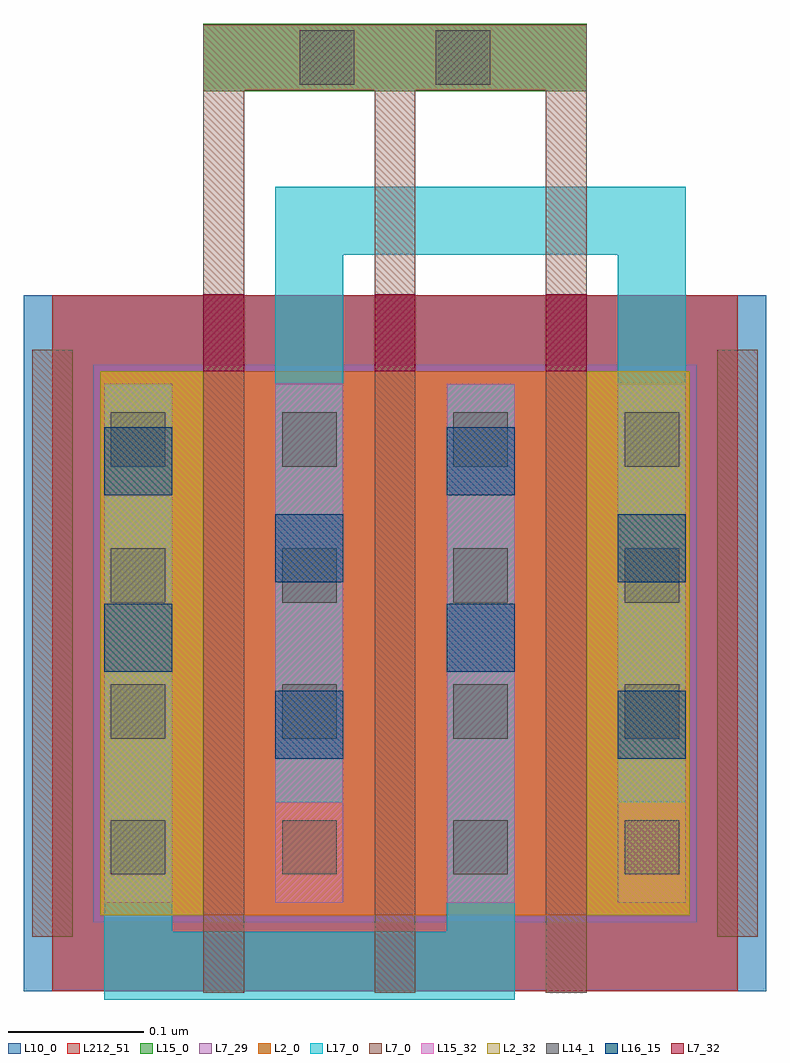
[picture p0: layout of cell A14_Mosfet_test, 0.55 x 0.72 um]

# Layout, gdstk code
import gdstk
lib = gdstk.Library(unit=1e-6, precision=1e-09)
def R(c, l, rs):  # rectangles x0, y0, x1, y1
    for r in rs: c.add(gdstk.rectangle(r[:2], r[2:], *l))
def A(c, l, x, y, w, h, nx, ny, dx, dy):  # array of equal rectangles
    R(c, l, [(x+i*dx, y+j*dy, x+i*dx+w, y+j*dy+h) for i in range(nx) for j in range(ny)])
L2_0 = (2, 0)
L2_32 = (2, 32)
L7_0 = (7, 0)
L7_29 = (7, 29)
L7_32 = (7, 32)
L10_0 = (10, 0)
L14_1 = (14, 1)
L15_0 = (15, 0)
L15_32 = (15, 32)
L16_15 = (16, 15)
L17_0 = (17, 0)
L212_51 = (212, 51)

a14_mosfet_test_srf_sour = lib.new_cell('A14_Mosfet_test:SRF_Source_ViaM1M2:SRF_ViaM1M2')
R(a14_mosfet_test_srf_sour, L15_0, [(0,-0.162,0.05,0.082)])
R(a14_mosfet_test_srf_sour, L16_15, [(0,-0.13,0.05,-0.08), (0,0,0.05,0.05)])
R(a14_mosfet_test_srf_sour, L17_0, [(0,-0.162,0.05,0.082)])

c_a14_mosfet_test_srf_sour = lib.new_cell('A14_Mosfet_test:SRF_Source_ViaM1M2')
c_a14_mosfet_test_srf_sour.add(gdstk.Reference(a14_mosfet_test_srf_sour, (-0.025,0.04)))

a14_mosfet_test_srf_drai = lib.new_cell('A14_Mosfet_test:SRF_Drain_ViaM1M2:SRF_ViaM1M2')
R(a14_mosfet_test_srf_drai, L15_0, [(0,-0.162,0.05,0.082)])
R(a14_mosfet_test_srf_drai, L16_15, [(0,-0.13,0.05,-0.08), (0,0,0.05,0.05)])
R(a14_mosfet_test_srf_drai, L17_0, [(0,-0.162,0.05,0.082)])

c_a14_mosfet_test_srf_drai = lib.new_cell('A14_Mosfet_test:SRF_Drain_ViaM1M2')
c_a14_mosfet_test_srf_drai.add(gdstk.Reference(a14_mosfet_test_srf_drai, (-0.025,0.04)))

a14_mosfet_test_srf_gate = lib.new_cell('A14_Mosfet_test:SRF_Gate_ViaM0Mx:SRF_ViaM0M1')
R(a14_mosfet_test_srf_gate, L7_0, [(-0.01,-0.004,0.15,0.044)])
R(a14_mosfet_test_srf_gate, L14_1, [(0,0,0.04,0.04), (0.1,0,0.14,0.04)])
R(a14_mosfet_test_srf_gate, L15_0, [(-0.021,-0.005,0.161,0.045)])

c_a14_mosfet_test_srf_gate = lib.new_cell('A14_Mosfet_test:SRF_Gate_ViaM0Mx')
c_a14_mosfet_test_srf_gate.add(gdstk.Reference(a14_mosfet_test_srf_gate, (-0.07,-0.02)))

a14_mosfet_test = lib.new_cell('A14_Mosfet_test')
R(a14_mosfet_test, L2_0, [(-0.076,0.057,0.358,0.457)])
R(a14_mosfet_test, L2_32, [(-0.076,0.057,0,0.457), (0.282,0.057,0.358,0.457)])
A(a14_mosfet_test, L7_0, 0, 0, 0.03, 0.514, 3, 1, 0.126, 0)
A(a14_mosfet_test, L7_0, 0, 0.514, 0.03, 0.15, 3, 1, 0.126, 0)
R(a14_mosfet_test, L7_0, [(-0.126,0.041,-0.096,0.473), (0.378,0.041,0.408,0.473), (0,0.664,0.282,0.712)])
R(a14_mosfet_test, L7_29, [(-0.081,0.052,0.363,0.462)])
A(a14_mosfet_test, L7_32, 0, 0.457, 0.03, 0.057, 3, 1, 0.126, 0)
R(a14_mosfet_test, L10_0, [(-0.132,0.001,0.414,0.513)])
A(a14_mosfet_test, L14_1, -0.068, 0.087, 0.04, 0.04, 4, 4, 0.126, 0.1)
R(a14_mosfet_test, L15_0, [(-0.073,0.066,-0.023,0.448), (-0.073,0.066,-0.023,0.448), (0.053,0.066,0.103,0.448), (0.053,0.066,0.103,0.448), (0.179,0.066,0.229,0.448), (0.179,0.066,0.229,0.448), (0.305,0.066,0.355,0.448), (0.305,0.066,0.355,0.448), (0,0.663,0.282,0.713)])
A(a14_mosfet_test, L15_32, -0.073, 0.066, 0.05, 0.382, 4, 1, 0.126, 0)
R(a14_mosfet_test, L17_0, [(-0.073,-0.005,0.229,0.045), (-0.073,0.045,-0.023,0.448), (0.179,0.045,0.229,0.448), (0.053,0.384,0.103,0.543), (0.305,0.384,0.355,0.543), (0.053,0.543,0.355,0.593)])
R(a14_mosfet_test, L212_51, [(-0.111,0.001,0.393,0.513)])
a14_mosfet_test.add(gdstk.Reference(c_a14_mosfet_test_srf_sour, (-0.048,0.326)))
a14_mosfet_test.add(gdstk.Reference(c_a14_mosfet_test_srf_sour, (0.204,0.326)))
a14_mosfet_test.add(gdstk.Reference(c_a14_mosfet_test_srf_drai, (0.078,0.262)))
a14_mosfet_test.add(gdstk.Reference(c_a14_mosfet_test_srf_drai, (0.33,0.262)))
a14_mosfet_test.add(gdstk.Reference(c_a14_mosfet_test_srf_gate, (0.141,0.688)))

lib.write_gds('A14_Mosfet_test.gds')
